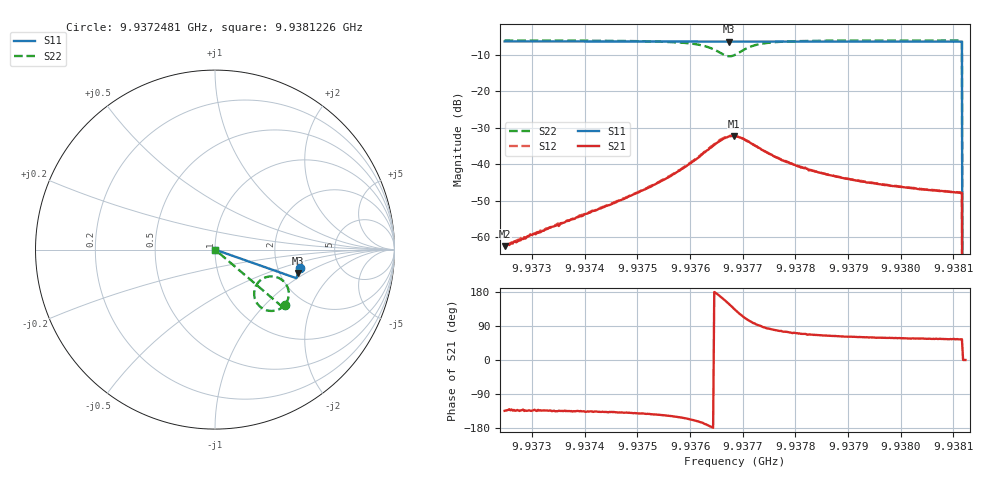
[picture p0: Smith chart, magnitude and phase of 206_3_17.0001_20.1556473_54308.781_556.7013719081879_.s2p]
#  HZ  S  RI  R  50.00
! Rohde & Schwarz Vector Network Analyzer
! Rohde-Schwarz,ZNB20-2Port,1311601062101988,3.16
! Created: UTC 3/20/2024, 11:01:16 PM
! freq[Hz]  re:S11  im:S11  re:S21  im:S21  re:S12  im:S12  re:S22  im:S22
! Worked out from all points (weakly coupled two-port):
!   401 points, 9.9372481 GHz to 9.9381226 GHz, reference 50 ohm
!   highest |S21| = -32.19 dB at 9.9376832 GHz (marker M1); lowest = -62.4 dB at 9.9372481 GHz (marker M2)
!   lowest |S11| = -6.4 dB at 9.9376744 GHz (marker M3), VSWR 2.84, Z = 125 - j42.3 ohm
!   |S11| at or under -10 dB: 9.9381161 GHz to end of sweep
!   |S22| runs from - to -6.0 dB; largest |S21 - S12| = 0.0011
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9.9372481e9  0.4726 -0.1031  -0.000531 -0.000548  -0.000566 -0.000533  0.3921 -0.307
9.93727434e9  0.4721 -0.1049  -0.000624 -0.000665  -0.000677 -0.000649  0.3897 -0.309
9.9372962e9  0.4715 -0.1064  -0.000734 -0.000779  -0.000747 -0.000799  0.3879 -0.3111
9.93739458e9  0.4695 -0.113  -0.0014 -0.00138  -0.00145 -0.00144  0.3772 -0.3197
9.93747985e9  0.4678 -0.1189  -0.00264 -0.00231  -0.00276 -0.00228  0.362 -0.3298
9.93754107e9  0.4662 -0.123  -0.00464 -0.00329  -0.00474 -0.00328  0.342 -0.3377
9.9375848e9  0.4649 -0.1261  -0.00768 -0.00404  -0.00791 -0.00401  0.3144 -0.3419
9.93762634e9  0.4631 -0.1289  -0.0141 -0.00318  -0.0144 -0.0029  0.2633 -0.3273
9.93764164e9  0.4625 -0.1297  -0.0174 -0.000842  -0.0178 -0.000456  0.2377 -0.3034
9.93765694e9  0.4617 -0.1302  -0.0206 0.00417  -0.0212 0.00494  0.219 -0.2587
9.93767443e9  0.4609 -0.1302  -0.0204 0.0132  -0.0202 0.0141  0.2364 -0.1891
9.93768318e9  0.461 -0.1302  -0.0175 0.0173  -0.0171 0.018  0.2652 -0.1624
9.93768537e9  0.4611 -0.1301  -0.0166 0.0179  -0.016 0.0186  0.274 -0.158
9.93769848e9  0.4613 -0.1306  -0.0102 0.0203  -0.00973 0.0208  0.3261 -0.1495
9.9377116e9  0.4619 -0.1315  -0.00502 0.0199  -0.00445 0.0199  0.366 -0.164
9.93773565e9  0.462 -0.1334  0.000293 0.0159  0.000869 0.016  0.4008 -0.2024
9.93777501e9  0.4615 -0.1365  0.00285 0.011  0.00321 0.0111  0.4111 -0.2462
9.93783185e9  0.4603 -0.1406  0.00322 0.00756  0.00341 0.00757  0.4064 -0.2771
9.93790181e9  0.4585 -0.1453  0.00302 0.00553  0.00311 0.00553  0.3981 -0.2963
9.93797833e9  0.4567 -0.1504  0.00268 0.0044  0.00279 0.00438  0.3905 -0.3085
9.9381117e9  0.4531 -0.159  0.00238 0.00333  0.00247 0.00336  0.3799 -0.3222
9.93812263e9  0 0  0 0  0 0  0 0
